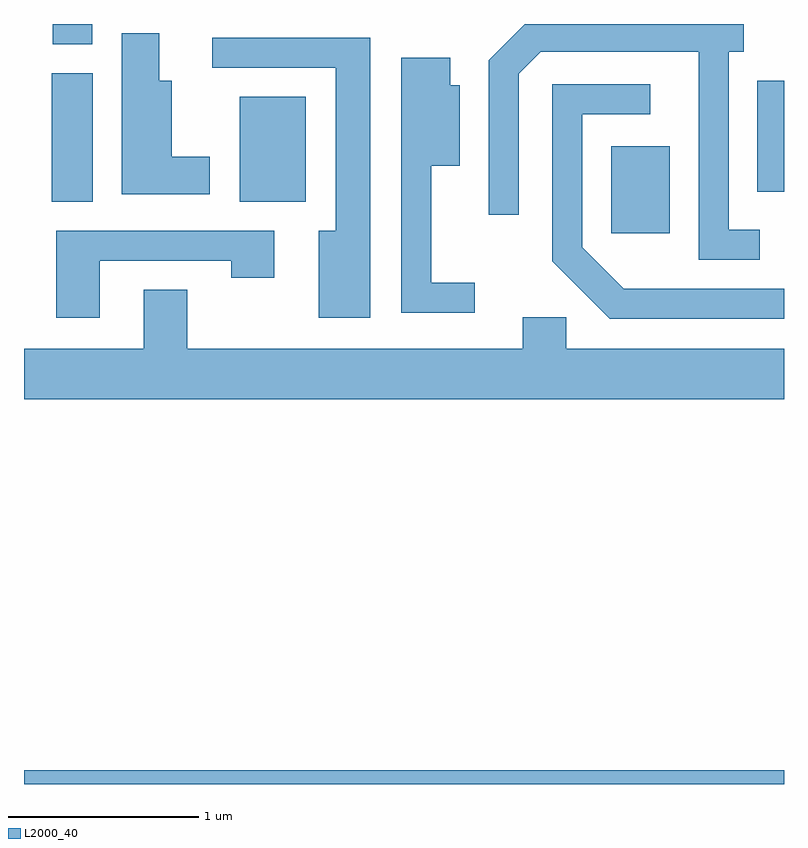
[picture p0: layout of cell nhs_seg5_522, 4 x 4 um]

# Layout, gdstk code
import gdstk
lib = gdstk.Library(unit=1e-6, precision=1e-09)
def R(c, l, rs):  # rectangles x0, y0, x1, y1
    for r in rs: c.add(gdstk.rectangle(r[:2], r[2:], *l))
def P(c, l, *ps):  # polygons
    for p in ps: c.add(gdstk.Polygon(p, *l))
L2000_40 = (2000, 40)

nhs_seg5_522 = lib.new_cell('nhs_seg5_522')
R(nhs_seg5_522, L2000_40, [(199.611,1488.072,203.611,1488.144), (202.701,1490.971,203.009,1491.429), (199.756,1491.136,199.974,1491.814), (200.746,1491.136,201.094,1491.689), (203.471,1491.188,203.611,1491.774), (199.761,1491.966,199.969,1492.072)])
P(nhs_seg5_522, L2000_40, [(203.483,1490.989),(203.319,1490.989),(203.319,1491.926),(203.398,1491.926),(203.398,1492.072),(202.247,1492.072),(202.056,1491.882),(202.056,1491.068),(202.214,1491.068),(202.214,1491.809),(202.332,1491.926),(203.161,1491.926),(203.161,1490.831),(203.483,1490.831)],
  [(200.589,1491.374),(200.389,1491.374),(200.389,1491.774),(200.324,1491.774),(200.324,1492.024),(200.126,1492.024),(200.126,1491.176),(200.589,1491.176)],
  [(201.434,1491.999),(200.603,1491.999),(200.603,1491.841),(201.251,1491.841),(201.251,1490.984),(201.161,1490.984),(201.161,1490.526),(201.434,1490.526)],
  [(201.983,1490.709),(201.754,1490.709),(201.754,1491.326),(201.904,1491.326),(201.904,1491.749),(201.854,1491.749),(201.854,1491.894),(201.596,1491.894),(201.596,1490.551),(201.983,1490.551)],
  [(203.611,1490.679),(202.767,1490.679),(202.549,1490.897),(202.549,1491.596),(202.908,1491.596),(202.908,1491.754),(202.391,1491.754),(202.391,1490.824),(202.694,1490.521),(203.611,1490.521)],
  [(200.009,1490.826),(200.701,1490.826),(200.701,1490.736),(200.929,1490.736),(200.929,1490.984),(199.781,1490.984),(199.781,1490.526),(200.009,1490.526)],
  [(203.611,1490.364),(202.464,1490.364),(202.464,1490.529),(202.236,1490.529),(202.236,1490.364),(200.469,1490.364),(200.469,1490.674),(200.241,1490.674),(200.241,1490.364),(199.611,1490.364),(199.611,1490.096),(203.611,1490.096)])

lib.write_gds('nhs_seg5_522.gds')
